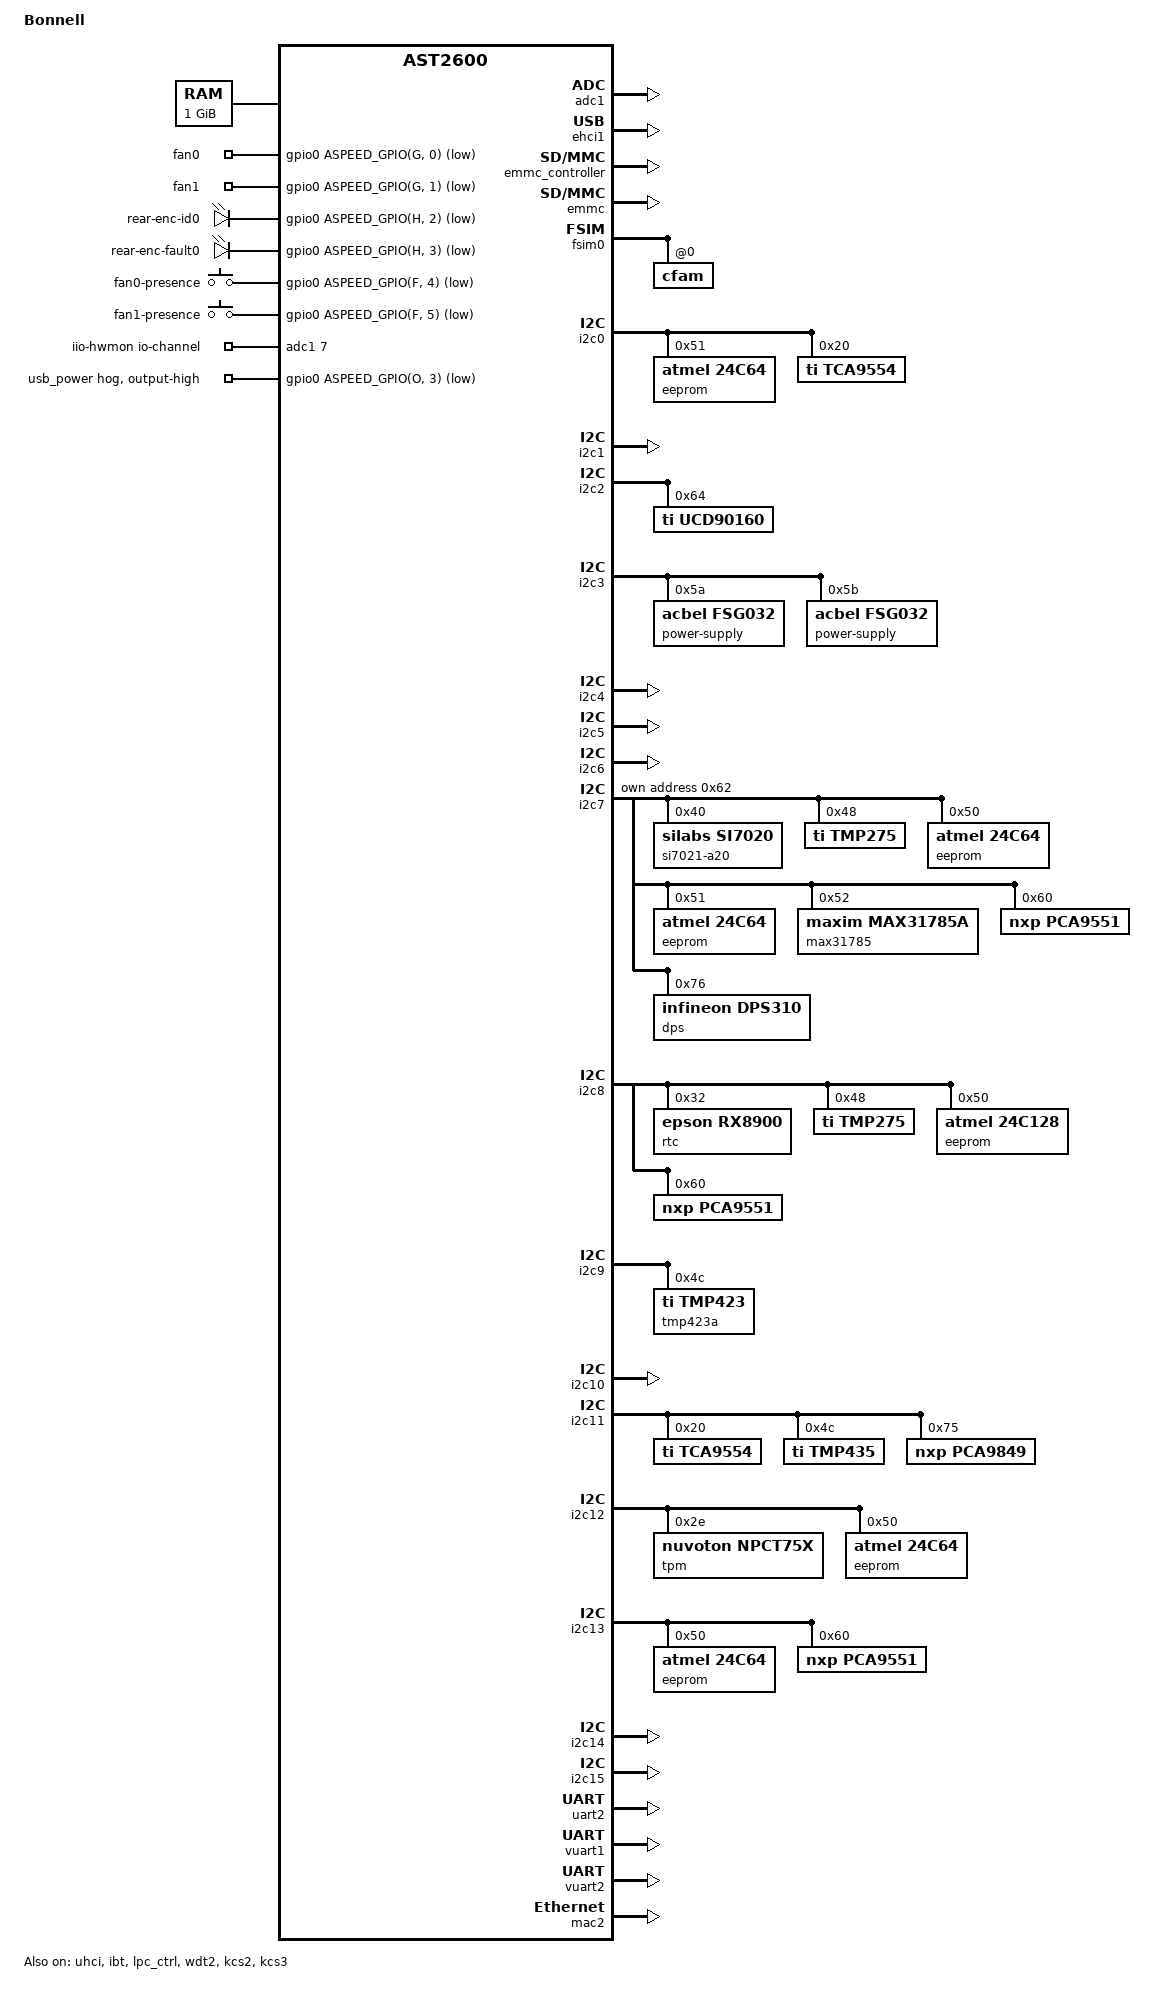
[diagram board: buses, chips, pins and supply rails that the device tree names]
// SPDX-License-Identifier: GPL-2.0-or-later
// Copyright 2022 IBM Corp.
/dts-v1/;

#include "aspeed-g6.dtsi"
#include <dt-bindings/gpio/aspeed-gpio.h>
#include <dt-bindings/i2c/i2c.h>
#include <dt-bindings/leds/leds-pca955x.h>

/ {
	model = "Bonnell";
	compatible = "ibm,bonnell-bmc", "aspeed,ast2600";

	aliases {
		i2c100 = &cfam0_i2c0;
		i2c101 = &cfam0_i2c1;
		i2c110 = &cfam0_i2c10;
		i2c111 = &cfam0_i2c11;
		i2c112 = &cfam0_i2c12;
		i2c113 = &cfam0_i2c13;
		i2c114 = &cfam0_i2c14;
		i2c115 = &cfam0_i2c15;
		i2c202 = &cfam1_i2c2;
		i2c203 = &cfam1_i2c3;
		i2c210 = &cfam1_i2c10;
		i2c211 = &cfam1_i2c11;
		i2c214 = &cfam1_i2c14;
		i2c215 = &cfam1_i2c15;
		i2c216 = &cfam1_i2c16;
		i2c217 = &cfam1_i2c17;

		serial4 = &uart5;
		i2c16 = &i2c11mux0chn0;
		i2c17 = &i2c11mux0chn1;
		i2c18 = &i2c11mux0chn2;
		i2c19 = &i2c11mux0chn3;

		spi10 = &cfam0_spi0;
		spi11 = &cfam0_spi1;
		spi12 = &cfam0_spi2;
		spi13 = &cfam0_spi3;
		spi20 = &cfam1_spi0;
		spi21 = &cfam1_spi1;
		spi22 = &cfam1_spi2;
		spi23 = &cfam1_spi3;

	};

	chosen {
		stdout-path = &uart5;
		bootargs = "console=ttyS4,115200n8 earlycon";
	};

	memory@80000000 {
		device_type = "memory";
		reg = <0x80000000 0x40000000>;
	};

	reserved-memory {
		#address-cells = <1>;
		#size-cells = <1>;
		ranges;

		ramoops@b3e00000 {
			compatible = "ramoops";
			reg = <0xb3e00000 0x200000>; /* 16 * (4 * 0x8000) */
			record-size = <0x8000>;
			console-size = <0x8000>;
			ftrace-size = <0x8000>;
			pmsg-size = <0x8000>;
			max-reason = <3>; /* KMSG_DUMP_EMERG */
		};

		/* LPC FW cycle bridge region requires natural alignment */
		flash_memory: region@b4000000 {
			no-map;
			reg = <0xb4000000 0x04000000>; /* 64M */
		};

		/* VGA region is dictated by hardware strapping */
		vga_memory: region@bf000000 {
			no-map;
			compatible = "shared-dma-pool";
			reg = <0xbf000000 0x01000000>;  /* 16M */
		};
	};

	leds {
		compatible = "gpio-leds";

		fan0 {
			gpios = <&gpio0 ASPEED_GPIO(G, 0) GPIO_ACTIVE_LOW>;
		};

		fan1 {
			gpios = <&gpio0 ASPEED_GPIO(G, 1) GPIO_ACTIVE_LOW>;
		};

		rear-enc-id0 {
			gpios = <&gpio0 ASPEED_GPIO(H, 2) GPIO_ACTIVE_LOW>;
		};

		rear-enc-fault0 {
			gpios = <&gpio0 ASPEED_GPIO(H, 3) GPIO_ACTIVE_LOW>;
		};
	};

	gpio-keys-polled {
		compatible = "gpio-keys-polled";
		#address-cells = <1>;
		#size-cells = <0>;
		poll-interval = <1000>;

		fan0-presence {
			label = "fan0-presence";
			gpios = <&gpio0 ASPEED_GPIO(F, 4) GPIO_ACTIVE_LOW>;
			linux,code = <6>;
		};

		fan1-presence {
			label = "fan1-presence";
			gpios = <&gpio0 ASPEED_GPIO(F, 5) GPIO_ACTIVE_LOW>;
			linux,code = <7>;
		};
	};

	iio-hwmon {
		compatible = "iio-hwmon";
		io-channels = <&adc1 7>;
	};
};

&adc1 {
	status = "okay";
	aspeed,int-vref-microvolt = <2500000>;
	pinctrl-names = "default";
	pinctrl-0 = <&pinctrl_adc8_default &pinctrl_adc9_default
		&pinctrl_adc10_default &pinctrl_adc11_default
		&pinctrl_adc12_default &pinctrl_adc13_default
		&pinctrl_adc14_default &pinctrl_adc15_default>;
};

&ehci1 {
	status = "okay";
};

&uhci {
	status = "okay";
};

&gpio0 {
	gpio-line-names =
		/*A0-A7*/	"","","","","","","","",
		/*B0-B7*/	"","","","","","","checkstop","",
		/*C0-C7*/	"","","","","","","","",
		/*D0-D7*/	"","","","","","","","",
		/*E0-E7*/	"","","","","","","","",
		/*F0-F7*/	"","","rtc-battery-voltage-read-enable","reset-cause-pinhole","","","","",
		/*G0-G7*/	"fan0","fan1","","","","","","",
		/*H0-H7*/	"","","rear-enc-id0","rear-enc-fault0","","","","",
		/*I0-I7*/	"","","","","","","bmc-secure-boot","",
		/*J0-J7*/	"","","","","","","","",
		/*K0-K7*/	"","","","","","","","",
		/*L0-L7*/	"","","","","","","","",
		/*M0-M7*/	"","","","","","","","",
		/*N0-N7*/	"","","","","","","","",
		/*O0-O7*/	"","","","usb-power","","","","",
		/*P0-P7*/	"","","","","","","","",
		/*Q0-Q7*/	"cfam-reset","","regulator-standby-faulted","","","","","",
		/*R0-R7*/	"bmc-tpm-reset","power-chassis-control","power-chassis-good","","","","","",
		/*S0-S7*/	"presence-ps0","presence-ps1","","","power-ffs-sync-history","","","",
		/*T0-T7*/	"","","","","","","","",
		/*U0-U7*/	"","","","","","","","",
		/*V0-V7*/	"","","","","","","","",
		/*W0-W7*/	"","","","","","","","",
		/*X0-X7*/	"","","","","","","","",
		/*Y0-Y7*/	"","","","","","","","",
		/*Z0-Z7*/	"","","","","","","","";

	usb_power {
		gpio-hog;
		gpios = <ASPEED_GPIO(O, 3) GPIO_ACTIVE_LOW>;
		output-high;
	};
};

&emmc_controller {
	status = "okay";
};

&pinctrl_emmc_default {
	bias-disable;
};

&emmc {
	status = "okay";
	clk-phase-mmc-hs200 = <180>, <180>;
};

&fsim0 {
	status = "okay";

	#address-cells = <2>;
	#size-cells = <0>;

	cfam-reset-gpios = <&gpio0 ASPEED_GPIO(Q, 0) GPIO_ACTIVE_HIGH>;

	cfam@0,0 {
		reg = <0 0>;
		#address-cells = <1>;
		#size-cells = <1>;
		chip-id = <0>;

		scom@1000 {
			compatible = "ibm,fsi2pib";
			reg = <0x1000 0x400>;
		};

		i2c@1800 {
			compatible = "ibm,fsi-i2c-master";
			reg = <0x1800 0x400>;
			#address-cells = <1>;
			#size-cells = <0>;

			cfam0_i2c0: i2c-bus@0 {
				reg = <0>;	/* OMI01 */
			};

			cfam0_i2c1: i2c-bus@1 {
				reg = <1>;	/* OMI23 */
			};

			cfam0_i2c10: i2c-bus@a {
				reg = <10>;	/* OP3A */
			};

			cfam0_i2c11: i2c-bus@b {
				reg = <11>;	/* OP3B */
			};

			cfam0_i2c12: i2c-bus@c {
				reg = <12>;	/* OP4A */
			};

			cfam0_i2c13: i2c-bus@d {
				reg = <13>;	/* OP4B */
			};

			cfam0_i2c14: i2c-bus@e {
				reg = <14>;	/* OP5A */
			};

			cfam0_i2c15: i2c-bus@f {
				reg = <15>;	/* OP5B */
			};
		};

		fsi2spi@1c00 {
			compatible = "ibm,fsi2spi";
			reg = <0x1c00 0x400>;
			#address-cells = <1>;
			#size-cells = <0>;

			cfam0_spi0: spi@0 {
				reg = <0x0>;
				#address-cells = <1>;
				#size-cells = <0>;

				eeprom@0 {
					at25,byte-len = <0x80000>;
					at25,addr-mode = <4>;
					at25,page-size = <256>;

					compatible = "atmel,at25";
					reg = <0>;
					spi-max-frequency = <1000000>;
				};
			};

			cfam0_spi1: spi@20 {
				reg = <0x20>;
				#address-cells = <1>;
				#size-cells = <0>;

				eeprom@0 {
					at25,byte-len = <0x80000>;
					at25,addr-mode = <4>;
					at25,page-size = <256>;

					compatible = "atmel,at25";
					reg = <0>;
					spi-max-frequency = <1000000>;
				};
			};

			cfam0_spi2: spi@40 {
				reg = <0x40>;
				compatible = "ibm,fsi2spi-restricted";
				#address-cells = <1>;
				#size-cells = <0>;

				eeprom@0 {
					at25,byte-len = <0x80000>;
					at25,addr-mode = <4>;
					at25,page-size = <256>;

					compatible = "atmel,at25";
					reg = <0>;
					spi-max-frequency = <1000000>;
				};
			};

			cfam0_spi3: spi@60 {
				reg = <0x60>;
				compatible = "ibm,fsi2spi-restricted";
				#address-cells = <1>;
				#size-cells = <0>;

				eeprom@0 {
					at25,byte-len = <0x80000>;
					at25,addr-mode = <4>;
					at25,page-size = <256>;

					compatible = "atmel,at25";
					reg = <0>;
					spi-max-frequency = <1000000>;
				};
			};
		};

		sbefifo@2400 {
			compatible = "ibm,p9-sbefifo";
			reg = <0x2400 0x400>;
			#address-cells = <1>;
			#size-cells = <0>;

			fsi_occ0: occ {
				compatible = "ibm,p10-occ";

				occ-hwmon {
					compatible = "ibm,p10-occ-hwmon";
					ibm,no-poll-on-init;
				};
			};
		};

		fsi_hub0: hub@3400 {
			compatible = "fsi-master-hub";
			reg = <0x3400 0x400>;
			#address-cells = <2>;
			#size-cells = <0>;
		};
	};
};

&fsi_hub0 {
	cfam@1,0 {
		reg = <1 0>;
		#address-cells = <1>;
		#size-cells = <1>;
		chip-id = <1>;

		scom@1000 {
			compatible = "ibm,fsi2pib";
			reg = <0x1000 0x400>;
		};

		i2c@1800 {
			compatible = "ibm,fsi-i2c-master";
			reg = <0x1800 0x400>;
			#address-cells = <1>;
			#size-cells = <0>;

			cfam1_i2c2: i2c-bus@2 {
				reg = <2>;	/* OMI45 */
			};

			cfam1_i2c3: i2c-bus@3 {
				reg = <3>;	/* OMI67 */
			};

			cfam1_i2c10: i2c-bus@a {
				reg = <10>;	/* OP3A */
			};

			cfam1_i2c11: i2c-bus@b {
				reg = <11>;	/* OP3B */
			};

			cfam1_i2c14: i2c-bus@e {
				reg = <14>;	/* OP5A */
			};

			cfam1_i2c15: i2c-bus@f {
				reg = <15>;	/* OP5B */
			};

			cfam1_i2c16: i2c-bus@10 {
				reg = <16>;	/* OP6A */
			};

			cfam1_i2c17: i2c-bus@11 {
				reg = <17>;	/* OP6B */
			};
		};

		fsi2spi@1c00 {
			compatible = "ibm,fsi2spi";
			reg = <0x1c00 0x400>;
			#address-cells = <1>;
			#size-cells = <0>;

			cfam1_spi0: spi@0 {
				reg = <0x0>;
				#address-cells = <1>;
				#size-cells = <0>;

				eeprom@0 {
					at25,byte-len = <0x80000>;
					at25,addr-mode = <4>;
					at25,page-size = <256>;

					compatible = "atmel,at25";
					reg = <0>;
					spi-max-frequency = <1000000>;
				};
			};

			cfam1_spi1: spi@20 {
				reg = <0x20>;
				#address-cells = <1>;
				#size-cells = <0>;

				eeprom@0 {
					at25,byte-len = <0x80000>;
					at25,addr-mode = <4>;
					at25,page-size = <256>;

					compatible = "atmel,at25";
					reg = <0>;
					spi-max-frequency = <1000000>;
				};
			};

			cfam1_spi2: spi@40 {
				reg = <0x40>;
				compatible = "ibm,fsi2spi-restricted";
				#address-cells = <1>;
				#size-cells = <0>;

				eeprom@0 {
					at25,byte-len = <0x80000>;
					at25,addr-mode = <4>;
					at25,page-size = <256>;

					compatible = "atmel,at25";
					reg = <0>;
					spi-max-frequency = <1000000>;
				};
			};

			cfam1_spi3: spi@60 {
				reg = <0x60>;
				compatible = "ibm,fsi2spi-restricted";
				#address-cells = <1>;
				#size-cells = <0>;

				eeprom@0 {
					at25,byte-len = <0x80000>;
					at25,addr-mode = <4>;
					at25,page-size = <256>;

					compatible = "atmel,at25";
					reg = <0>;
					spi-max-frequency = <1000000>;
				};
			};
		};

		sbefifo@2400 {
			compatible = "ibm,p9-sbefifo";
			reg = <0x2400 0x400>;
			#address-cells = <1>;
			#size-cells = <0>;

			fsi_occ1: occ {
				compatible = "ibm,p10-occ";

				occ-hwmon {
					compatible = "ibm,p10-occ-hwmon";
					ibm,no-poll-on-init;
				};
			};
		};

		fsi_hub1: hub@3400 {
			compatible = "fsi-master-hub";
			reg = <0x3400 0x400>;
			#address-cells = <2>;
			#size-cells = <0>;

			no-scan-on-init;
		};
	};
};

&ibt {
	status = "okay";
};

&i2c0 {
	status = "okay";

	eeprom@51 {
		compatible = "atmel,24c64";
		reg = <0x51>;
	};

	tca9554@20 {
		compatible = "ti,tca9554";
		reg = <0x20>;
		#address-cells = <1>;
		#size-cells = <0>;

		gpio-controller;
		#gpio-cells = <2>;

		gpio-line-names = "",
			"RUSSEL_FW_I2C_ENABLE_N",
			"RUSSEL_OPPANEL_PRESENCE_N",
			"BLYTH_OPPANEL_PRESENCE_N",
			"CPU_TPM_CARD_PRESENT_N",
			"",
			"",
			"DASD_BP_PRESENT_N";
	};
};

&i2c1 {
	status = "okay";
};

&i2c2 {
	status = "okay";

	ucd90160@64 {
		compatible = "ti,ucd90160";
		reg = <0x64>;
	};
};

&i2c3 {
	status = "okay";

	power-supply@5a {
		compatible = "acbel,fsg032";
		reg = <0x5a>;
	};

	power-supply@5b {
		compatible = "acbel,fsg032";
		reg = <0x5b>;
	};
};

&i2c4 {
	status = "okay";
};

&i2c5 {
	status = "okay";
};

&i2c6 {
	status = "okay";
};

&i2c7 {
	multi-master;
	status = "okay";

	si7021-a20@40 {
		compatible = "silabs,si7020";
		reg = <0x40>;
	};

	tmp275@48 {
		compatible = "ti,tmp275";
		reg = <0x48>;
	};

	eeprom@50 {
		compatible = "atmel,24c64";
		reg = <0x50>;
	};

	eeprom@51 {
		compatible = "atmel,24c64";
		reg = <0x51>;
	};

	max31785@52 {
		compatible = "maxim,max31785a";
		reg = <0x52>;
		#address-cells = <1>;
		#size-cells = <0>;

		fan0: fan@0 {
			compatible = "pmbus-fan";
			reg = <0>;
			tach-pulses = <2>;
		};

		fan1: fan@1 {
			compatible = "pmbus-fan";
			reg = <1>;
			tach-pulses = <2>;
		};
	};

	pca9551@60 {
		compatible = "nxp,pca9551";
		reg = <0x60>;
		#address-cells = <1>;
		#size-cells = <0>;

		gpio-controller;
		#gpio-cells = <2>;

		led@0 {
			label = "front-sys-id0";
			reg = <0>;
			retain-state-shutdown;
			default-state = "keep";
			type = <PCA955X_TYPE_LED>;
		};

		led@1 {
			label = "front-check-log0";
			reg = <1>;
			retain-state-shutdown;
			default-state = "keep";
			type = <PCA955X_TYPE_LED>;
		};

		led@2 {
			label = "front-enc-fault1";
			reg = <2>;
			retain-state-shutdown;
			default-state = "keep";
			type = <PCA955X_TYPE_LED>;
		};

		led@3 {
			label = "front-sys-pwron0";
			reg = <3>;
			retain-state-shutdown;
			default-state = "keep";
			type = <PCA955X_TYPE_LED>;
		};
	};

	ibm-panel@62 {
		compatible = "ibm,op-panel";
		reg = <(0x62 | I2C_OWN_SLAVE_ADDRESS)>;
	};

	dps: dps310@76 {
		compatible = "infineon,dps310";
		reg = <0x76>;
		#io-channel-cells = <0>;
	};
};

&i2c8 {
	status = "okay";

	rtc@32 {
		compatible = "epson,rx8900";
		reg = <0x32>;
	};

	tmp275@48 {
		compatible = "ti,tmp275";
		reg = <0x48>;
	};

	eeprom@50 {
		compatible = "atmel,24c128";
		reg = <0x50>;
	};

	pca9551@60 {
		compatible = "nxp,pca9551";
		reg = <0x60>;
		#address-cells = <1>;
		#size-cells = <0>;

		gpio-controller;
		#gpio-cells = <2>;

		gpio-line-names = "",
			"APSS_RESET_N",
			"",
			"N_MODE_CPU_N",
			"",
			"",
			"P10_DCM_PRESENT",
			"";
	};
};

&i2c9 {
	status = "okay";

	tmp423a@4c {
		compatible = "ti,tmp423";
		reg = <0x4c>;
	};
};

&i2c10 {
	status = "okay";
};

&i2c11 {
	status = "okay";

	tca9554@20 {
		compatible = "ti,tca9554";
		reg = <0x20>;
		#address-cells = <1>;
		#size-cells = <0>;

		gpio-controller;
		#gpio-cells = <2>;

		gpio-line-names = "BOOT_RCVRY_TWI",
			"BOOT_RCVRY_UART",
			"",
			"",
			"",
			"",
			"",
			"PE_SWITCH_RSTB_N";
	};

	tmp435@4c {
		compatible = "ti,tmp435";
		reg = <0x4c>;
	};

	pca9849@75 {
		compatible = "nxp,pca9849";
		reg = <0x75>;
		#address-cells = <1>;
		#size-cells = <0>;
		status = "okay";
		i2c-mux-idle-disconnect;

		i2c11mux0chn0: i2c@0 {
			#address-cells = <1>;
			#size-cells = <0>;
			reg = <0>;
		};

		i2c11mux0chn1: i2c@1 {
			#address-cells = <1>;
			#size-cells = <0>;
			reg = <1>;
		};

		i2c11mux0chn2: i2c@2 {
			#address-cells = <1>;
			#size-cells = <0>;
			reg = <2>;
		};

		i2c11mux0chn3: i2c@3 {
			#address-cells = <1>;
			#size-cells = <0>;
			reg = <3>;
		};
	};
};

&i2c12 {
	status = "okay";

	tpm@2e {
		compatible = "nuvoton,npct75x";
		reg = <0x2e>;
	};

	eeprom@50 {
		compatible = "atmel,24c64";
		reg = <0x50>;
	};
};

&i2c13 {
	status = "okay";

	eeprom@50 {
		compatible = "atmel,24c64";
		reg = <0x50>;
	};

	pca9551@60 {
		compatible = "nxp,pca9551";
		reg = <0x60>;
		#address-cells = <1>;
		#size-cells = <0>;

		gpio-controller;
		#gpio-cells = <2>;

		led@0 {
			label = "nvme0";
			reg = <0>;
			retain-state-shutdown;
			default-state = "keep";
			type = <PCA955X_TYPE_LED>;
		};

		led@1 {
			label = "nvme1";
			reg = <1>;
			retain-state-shutdown;
			default-state = "keep";
			type = <PCA955X_TYPE_LED>;
		};

		led@2 {
			label = "nvme2";
			reg = <2>;
			retain-state-shutdown;
			default-state = "keep";
			type = <PCA955X_TYPE_LED>;
		};

		led@3 {
			label = "nvme3";
			reg = <3>;
			retain-state-shutdown;
			default-state = "keep";
			type = <PCA955X_TYPE_LED>;
		};
	};
};

&i2c14 {
	status = "okay";
};

&i2c15 {
	status = "okay";
};

&uart2 {
	status = "okay";
};

&vuart1 {
	status = "okay";
};

&vuart2 {
	status = "okay";
};

&lpc_ctrl {
	status = "okay";
	memory-region = <&flash_memory>;
};

&mac2 {
	status = "okay";
	pinctrl-names = "default";
	pinctrl-0 = <&pinctrl_rmii3_default>;
	clocks = <&syscon ASPEED_CLK_GATE_MAC3CLK>,
		 <&syscon ASPEED_CLK_MAC3RCLK>;
	clock-names = "MACCLK", "RCLK";
	use-ncsi;
};

&wdt1 {
	aspeed,reset-type = "none";
	aspeed,external-signal;
	aspeed,ext-push-pull;
	aspeed,ext-active-high;

	pinctrl-names = "default";
	pinctrl-0 = <&pinctrl_wdtrst1_default>;
};

&wdt2 {
	status = "okay";
};

&xdma {
	status = "okay";
	memory-region = <&vga_memory>;
};

&kcs2 {
	status = "okay";
	aspeed,lpc-io-reg = <0xca8 0xcac>;
};

&kcs3 {
	status = "okay";
	aspeed,lpc-io-reg = <0xca2>;
	aspeed,lpc-interrupts = <11 IRQ_TYPE_LEVEL_LOW>;
};
